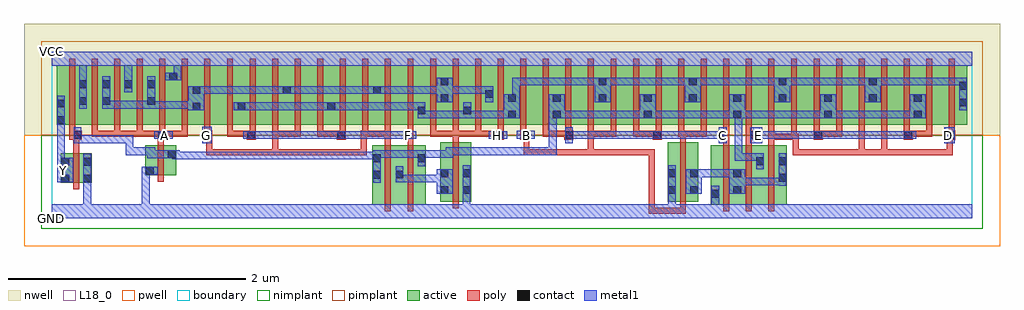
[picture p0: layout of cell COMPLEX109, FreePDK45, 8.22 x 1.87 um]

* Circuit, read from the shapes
.subckt COMPLEX109 A B C D E F G GND H VCC Y
M1 GND n1 Y VSUBS nfet w=0.25u l=0.05u
M2 n1 A GND VSUBS nfet w=0.25u l=0.05u
M3 n2 G n1 VSUBS nfet w=0.5u l=0.05u
M4 n1 F n2 VSUBS nfet w=0.5u l=0.05u
M5 GND H n2 VSUBS nfet w=0.5u l=0.05u
M6 n3 B GND VSUBS nfet w=0.5u l=0.05u
M7 n3 C GND VSUBS nfet w=0.5u l=0.05u
M8 n1 E n3 VSUBS nfet w=0.5u l=0.05u
M9 n3 D n1 VSUBS nfet w=0.5u l=0.05u
M10 VCC n1 Y n4 pfet w=0.5u l=0.05u
M11 n5 A VCC n4 pfet w=0.5u l=0.05u m=5
M12 n6 G n5 n4 pfet w=0.5u l=0.05u
M13 n7 F n6 n4 pfet w=0.5u l=0.05u
M14 n8 F n7 n4 pfet w=0.5u l=0.05u
M15 n5 G n8 n4 pfet w=0.5u l=0.05u
M16 n9 G n5 n4 pfet w=0.5u l=0.05u
M17 n7 F n9 n4 pfet w=0.5u l=0.05u
M18 n10 F n7 n4 pfet w=0.5u l=0.05u
M19 n5 G n10 n4 pfet w=0.5u l=0.05u
M20 n11 G n5 n4 pfet w=0.5u l=0.05u
M21 n7 F n11 n4 pfet w=0.5u l=0.05u
M22 n5 H n7 n4 pfet w=0.5u l=0.05u m=4
M23 n12 B n7 n4 pfet w=0.5u l=0.05u
M24 n1 C n12 n4 pfet w=0.5u l=0.05u
M25 n13 C n1 n4 pfet w=0.5u l=0.05u
M26 n7 B n13 n4 pfet w=0.5u l=0.05u
M27 n14 B n7 n4 pfet w=0.5u l=0.05u
M28 n1 C n14 n4 pfet w=0.5u l=0.05u
M29 n15 C n1 n4 pfet w=0.5u l=0.05u
M30 n7 B n15 n4 pfet w=0.5u l=0.05u
M31 n16 B n7 n4 pfet w=0.5u l=0.05u
M32 n1 C n16 n4 pfet w=0.5u l=0.05u
M33 n17 E n1 n4 pfet w=0.5u l=0.05u
M34 n7 D n17 n4 pfet w=0.5u l=0.05u
M35 n18 D n7 n4 pfet w=0.5u l=0.05u
M36 n1 E n18 n4 pfet w=0.5u l=0.05u
M37 n19 E n1 n4 pfet w=0.5u l=0.05u
M38 n7 D n19 n4 pfet w=0.5u l=0.05u
M39 n20 D n7 n4 pfet w=0.5u l=0.05u
M40 n1 E n20 n4 pfet w=0.5u l=0.05u
M41 n21 E n1 n4 pfet w=0.5u l=0.05u
M42 n7 D n21 n4 pfet w=0.5u l=0.05u
.ends

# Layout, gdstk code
import gdstk
lib = gdstk.Library(unit=1e-6, precision=1e-09)
def R(c, l, rs):  # rectangles x0, y0, x1, y1
    for r in rs: c.add(gdstk.rectangle(r[:2], r[2:], *l))
def A(c, l, x, y, w, h, nx, ny, dx, dy):  # array of equal rectangles
    R(c, l, [(x+i*dx, y+j*dy, x+i*dx+w, y+j*dy+h) for i in range(nx) for j in range(ny)])
active = (1, 0)
pwell = (2, 0)
nwell = (3, 0)
nimplant = (4, 0)
pimplant = (5, 0)
poly = (9, 0)
contact = (10, 0)
metal1 = (11, 0)
L18_0 = (18, 0)
boundary = (235, 0)

complex109 = lib.new_cell('COMPLEX109')
A(complex109, active, 0.04, 0.787, 0.26, 0.5, 3, 1, 0.38, 0)
A(complex109, active, 0.04, 0.787, 0.075, 0.413, 4, 1, 0.38, 0)
A(complex109, active, 0.225, 0.787, 0.075, 0.5, 3, 1, 0.38, 0)
A(complex109, active, 0.225, 0.787, 0.27, 0.5, 3, 1, 0.38, 0)
A(complex109, active, 1.18, 0.787, 0.225, 0.5, 3, 1, 0.38, 0)
A(complex109, active, 4.445, 0.787, 0.23, 0.5, 3, 1, 0.38, 0)
A(complex109, active, 4.6, 0.787, 0.225, 0.5, 3, 1, 0.38, 0)
A(complex109, active, 6.115, 0.787, 0.075, 0.413, 3, 1, 0.76, 0)
A(complex109, active, 6.725, 0.787, 0.225, 0.5, 3, 1, 0.38, 0)
R(complex109, active, [(2.7,0.112,2.965,0.612), (2.89,0.112,3.15,0.612), (5.55,0.112,5.81,0.612), (5.55,0.112,5.625,0.612), (5.735,0.112,6,0.612), (5.925,0.112,6.19,0.612), (3.27,0.137,3.53,0.637), (5.185,0.137,5.445,0.637), (2.7,0.145,2.775,0.612), (2.89,0.145,2.965,0.592), (3.075,0.145,3.15,0.612), (3.27,0.145,3.345,0.637), (3.455,0.145,3.53,0.637), (5.185,0.145,5.26,0.637), (5.37,0.145,5.445,0.637), (5.735,0.145,5.81,0.592), (5.925,0.145,6,0.592), (6.115,0.145,6.19,0.612), (0.075,0.297,0.15,0.547), (0.075,0.297,0.335,0.547), (0.26,0.297,0.335,0.547), (0.787,0.362,0.862,0.612), (0.787,0.362,1.047,0.612), (0.972,0.362,1.047,0.612), (1.405,0.787,1.635,1.287), (1.56,0.787,1.635,1.07), (1.785,0.787,2.015,1.287), (1.94,0.787,2.015,1.2), (2.165,0.787,2.39,1.287), (2.315,0.787,2.545,1.287), (2.315,0.787,2.39,1.07), (2.545,0.787,2.775,1.287), (2.7,0.787,2.775,1.2), (2.7,0.787,2.925,1.287), (2.925,0.787,3.15,1.287), (3.075,0.787,3.15,1.07), (3.075,0.787,3.345,1.287), (3.27,0.787,3.535,1.287), (3.27,0.787,3.345,1.2), (3.46,0.787,3.72,1.287), (3.46,0.787,3.535,1.07), (3.645,0.787,3.72,1.2), (3.645,0.787,3.912,1.287), (3.837,0.787,3.912,1.2), (3.837,0.787,4.065,1.287), (4.065,0.787,4.29,1.287), (4.215,0.787,4.445,1.287), (4.215,0.787,4.29,1.07), (4.6,0.787,4.675,1.2), (4.98,0.787,5.055,1.07), (5.36,0.787,5.435,1.2), (5.585,0.787,5.81,1.287), (5.735,0.787,5.965,1.287), (5.735,0.787,5.81,1.07), (5.965,0.787,6.19,1.287), (6.115,0.787,6.345,1.287), (6.345,0.787,6.575,1.287), (6.5,0.787,6.725,1.287), (6.5,0.787,6.575,1.07), (6.875,0.787,7.105,1.287), (7.255,0.787,7.485,1.287), (7.255,0.787,7.33,1.07)])
R(complex109, pwell, [(-0.235,-0.235,7.985,0.7)])
R(complex109, nwell, [(-0.235,0.7,7.985,1.635)])
R(complex109, nimplant, [(-0.09,-0.09,7.84,0.7)])
R(complex109, pimplant, [(-0.09,0.7,7.84,1.49)])
A(complex109, poly, 5.655, 0.057, 0.05, 0.61, 3, 1, 0.19, 0)
A(complex109, poly, 5.655, 0.617, 0.05, 0.095, 3, 1, 0.19, 0)
A(complex109, poly, 0.145, 0.687, 0.05, 0.095, 31, 1, 0.19, 0)
A(complex109, poly, 4.515, 0.687, 0.05, 0.05, 3, 1, 0.19, 0)
A(complex109, poly, 7.175, 0.687, 0.05, 0.095, 3, 1, 0.19, 0)
A(complex109, poly, 0.145, 0.732, 0.05, 0.61, 40, 1, 0.19, 0)
R(complex109, poly, [(5.027,0.037,5.077,0.087), (5.027,0.037,5.34,0.087), (5.027,0.037,5.077,0.58), (5.29,0.037,5.34,0.132), (5.29,0.037,5.34,0.087), (5.29,0.037,5.34,0.087), (5.29,0.037,5.34,0.087), (2.805,0.057,2.855,0.667), (2.995,0.057,3.045,0.667), (3.375,0.082,3.425,0.692), (5.29,0.082,5.34,0.692), (0.18,0.242,0.23,0.602), (0.892,0.307,0.942,0.667), (1.3,0.53,1.35,0.58), (1.3,0.53,1.35,0.58), (1.3,0.53,1.35,0.58), (1.3,0.53,1.35,0.58), (1.3,0.53,1.35,0.58), (1.3,0.53,1.35,0.712), (1.3,0.53,1.482,0.58), (1.432,0.53,1.482,0.58), (1.432,0.53,1.482,0.58), (1.432,0.53,1.482,0.58), (1.432,0.53,1.657,0.58), (1.607,0.53,1.657,0.58), (1.607,0.53,1.905,0.58), (1.855,0.53,1.905,0.58), (1.855,0.53,1.905,0.58), (1.855,0.53,1.905,0.58), (1.855,0.53,2.037,0.58), (1.855,0.53,1.905,0.737), (1.987,0.53,2.037,0.58), (1.987,0.53,2.037,0.58), (1.987,0.53,2.037,0.58), (1.987,0.53,2.227,0.58), (2.177,0.53,2.227,0.58), (2.177,0.53,2.227,0.58), (2.177,0.53,2.227,0.58), (2.177,0.53,2.417,0.58), (2.367,0.53,2.417,0.58), (2.367,0.53,2.417,0.58), (2.367,0.53,2.417,0.58), (2.367,0.53,2.65,0.58), (2.6,0.53,2.65,0.58), (2.6,0.53,2.65,0.58), (2.6,0.53,2.65,0.58), (2.6,0.53,2.65,0.737), (3.972,0.53,4.022,0.58), (3.972,0.53,4.022,0.58), (3.972,0.53,4.022,0.58), (3.972,0.53,4.022,0.58), (3.972,0.53,4.022,0.58), (3.972,0.53,4.022,0.712), (3.972,0.53,4.235,0.58), (4.185,0.53,4.235,0.58), (4.185,0.53,4.235,0.58), (4.185,0.53,4.235,0.58), (4.185,0.53,4.432,0.58), (4.382,0.53,4.432,0.58), (4.382,0.53,4.432,0.58), (4.382,0.53,4.432,0.58), (4.382,0.53,4.565,0.58), (4.515,0.53,4.565,0.58), (4.515,0.53,4.565,0.58), (4.515,0.53,4.565,0.58), (4.515,0.53,4.565,0.58), (4.515,0.53,4.565,0.58), (4.515,0.53,4.565,0.58), (4.515,0.53,4.565,0.58), (4.515,0.53,4.762,0.58), (4.515,0.53,4.565,0.737), (4.712,0.53,4.762,0.58), (4.712,0.53,4.762,0.58), (4.712,0.53,4.762,0.58), (4.712,0.53,4.895,0.58), (4.845,0.53,4.895,0.58), (4.845,0.53,5.077,0.58), (5.027,0.53,5.077,0.58), (5.027,0.53,5.077,0.58), (5.027,0.53,5.077,0.58), (5.027,0.53,5.077,0.58), (5.027,0.53,5.077,0.58), (6.24,0.53,6.29,0.712), (6.24,0.53,6.492,0.58), (6.442,0.53,6.492,0.58), (6.442,0.53,6.625,0.58), (6.575,0.53,6.625,0.58), (6.575,0.53,6.625,0.58), (6.575,0.53,6.625,0.58), (6.575,0.53,6.845,0.58), (6.795,0.53,6.845,0.58), (6.795,0.53,6.845,0.58), (6.795,0.53,6.845,0.58), (6.795,0.53,6.845,0.58), (6.795,0.53,6.845,0.58), (6.795,0.53,6.845,0.58), (6.795,0.53,6.845,0.58), (6.795,0.53,6.845,0.782), (6.795,0.53,7.035,0.58), (6.985,0.53,7.035,0.58), (6.985,0.53,7.035,0.58), (6.985,0.53,7.035,0.58), (6.985,0.53,7.035,0.58), (6.985,0.53,7.035,0.58), (6.985,0.53,7.035,0.58), (6.985,0.53,7.035,0.58), (6.985,0.53,7.167,0.58), (6.985,0.53,7.035,0.782), (7.117,0.53,7.167,0.58), (7.117,0.53,7.167,0.58), (7.117,0.53,7.167,0.58), (7.117,0.53,7.3,0.58), (7.25,0.53,7.3,0.58), (7.25,0.53,7.452,0.58), (7.402,0.53,7.452,0.58), (7.402,0.53,7.452,0.58), (7.402,0.53,7.452,0.58), (7.402,0.53,7.585,0.58), (7.535,0.53,7.585,0.58), (7.535,0.53,7.585,0.712), (0.18,0.552,0.23,0.712), (0.892,0.617,0.942,0.712), (2.805,0.617,2.855,0.737), (2.995,0.617,3.045,0.712), (3.375,0.642,3.425,0.737), (5.29,0.642,5.34,0.737), (0.145,0.662,0.252,0.737), (0.892,0.662,0.967,0.737), (1.275,0.662,1.35,0.737), (1.64,0.662,1.715,0.737), (2.4,0.662,2.475,0.737), (2.962,0.662,3.045,0.737), (3.73,0.662,3.805,0.737), (3.945,0.662,4.022,0.737), (4.317,0.662,4.392,0.737), (5.06,0.662,5.135,0.737), (5.612,0.662,5.705,0.737), (5.845,0.662,5.952,0.737), (6.035,0.662,6.085,0.712), (6.035,0.662,6.085,0.712), (6.035,0.662,6.085,0.712), (6.035,0.662,6.275,0.712), (6.035,0.662,6.085,0.782), (6.225,0.662,6.275,0.712), (6.225,0.662,6.275,0.712), (6.225,0.662,6.275,0.712), (6.225,0.662,6.275,0.712), (6.225,0.662,6.275,0.712), (6.225,0.662,6.29,0.712), (6.225,0.662,6.275,0.782), (6.415,0.662,6.492,0.737), (7.175,0.662,7.25,0.737), (7.535,0.662,7.585,0.712), (7.535,0.662,7.585,0.712), (7.535,0.662,7.61,0.737), (0.335,0.687,0.385,0.737), (0.335,0.687,0.385,0.737), (0.335,0.687,0.385,0.737), (0.335,0.687,0.575,0.737), (0.525,0.687,0.575,0.737), (0.525,0.687,0.575,0.737), (0.525,0.687,0.575,0.737), (0.525,0.687,0.765,0.737), (0.715,0.687,0.765,0.737), (0.715,0.687,0.765,0.737), (0.715,0.687,0.765,0.737), (0.715,0.687,0.942,0.737), (0.917,0.687,0.967,0.737), (0.917,0.687,0.967,0.737), (0.917,0.687,1.145,0.737), (1.095,0.687,1.145,0.737), (1.475,0.687,1.525,0.737), (1.475,0.687,1.69,0.737), (1.64,0.687,1.69,0.737), (1.64,0.687,1.69,0.737), (1.855,0.687,1.905,0.737), (1.855,0.687,1.905,0.737), (1.855,0.687,1.905,0.737), (1.855,0.687,2.095,0.737), (2.045,0.687,2.095,0.737), (2.045,0.687,2.095,0.737), (2.045,0.687,2.095,0.737), (2.235,0.687,2.285,0.737), (2.235,0.687,2.36,0.737), (2.31,0.687,2.36,0.737), (2.31,0.687,2.45,0.737), (2.6,0.687,2.65,0.737), (2.6,0.687,2.65,0.737), (2.6,0.687,2.665,0.737), (2.615,0.687,2.855,0.737), (2.805,0.687,2.855,0.737), (2.805,0.687,2.855,0.737), (2.805,0.687,2.855,0.737), (3.185,0.687,3.235,0.737), (3.185,0.687,3.235,0.737), (3.185,0.687,3.235,0.737), (3.185,0.687,3.425,0.737), (3.375,0.687,3.425,0.737), (3.375,0.687,3.425,0.737), (3.375,0.687,3.425,0.737), (3.375,0.687,3.615,0.737), (3.565,0.687,3.615,0.737), (3.565,0.687,3.78,0.737), (3.73,0.687,3.78,0.737), (3.73,0.687,3.78,0.737), (4.135,0.687,4.185,0.737), (4.135,0.687,4.185,0.737), (4.135,0.687,4.185,0.737), (4.135,0.687,4.367,0.737), (4.515,0.687,4.565,0.737), (4.515,0.687,4.565,0.737), (4.515,0.687,4.755,0.737), (4.895,0.687,5.11,0.737), (5.06,0.687,5.11,0.737), (5.06,0.687,5.11,0.737), (5.275,0.687,5.34,0.737), (5.29,0.687,5.515,0.737), (5.465,0.687,5.515,0.737), (5.465,0.687,5.515,0.737), (5.465,0.687,5.515,0.737), (6.415,0.687,6.465,0.782), (6.442,0.687,6.492,0.737), (6.442,0.687,6.492,0.737), (6.442,0.687,6.655,0.737), (6.605,0.687,6.655,0.782), (6.605,0.687,6.655,0.737), (7.2,0.687,7.3,0.737), (7.25,0.687,7.3,0.737), (7.25,0.687,7.415,0.737), (7.365,0.687,7.415,0.737)])
A(complex109, contact, 1.185, 1.047, 0.065, 0.065, 3, 1, 0.76, 0)
R(complex109, contact, [(5.555,0.172,5.62,0.237), (3.275,0.205,3.34,0.27), (3.46,0.205,3.525,0.27), (5.19,0.205,5.255,0.27), (5.375,0.205,5.44,0.27), (5.74,0.205,5.805,0.27), (0.08,0.302,0.145,0.367), (0.265,0.302,0.33,0.367), (6.12,0.307,6.185,0.372), (2.705,0.332,2.77,0.397), (2.895,0.335,2.96,0.4), (3.275,0.345,3.34,0.41), (3.46,0.345,3.525,0.41), (5.19,0.345,5.255,0.41), (5.375,0.345,5.44,0.41), (5.74,0.345,5.805,0.41), (0.792,0.367,0.857,0.432), (0.08,0.442,0.145,0.507), (0.265,0.442,0.33,0.507), (5.93,0.447,5.995,0.512), (6.12,0.447,6.185,0.512), (2.705,0.472,2.77,0.537), (3.08,0.472,3.145,0.537), (0.977,0.505,1.042,0.57), (0.182,0.667,0.247,0.732), (0.897,0.667,0.962,0.732), (1.28,0.667,1.345,0.732), (1.645,0.667,1.71,0.732), (2.405,0.667,2.47,0.732), (2.967,0.667,3.032,0.732), (3.735,0.667,3.8,0.732), (3.952,0.667,4.017,0.732), (4.322,0.667,4.387,0.732), (5.065,0.667,5.13,0.732), (5.617,0.667,5.682,0.732), (5.882,0.667,5.947,0.732), (6.422,0.667,6.487,0.732), (7.18,0.667,7.245,0.732), (7.54,0.667,7.605,0.732), (0.045,0.792,0.11,0.857), (3.842,0.84,3.907,0.905), (4.22,0.84,4.285,0.905), (4.985,0.84,5.05,0.905), (5.74,0.84,5.805,0.905), (6.505,0.84,6.57,0.905), (7.26,0.84,7.325,0.905), (3.08,0.875,3.145,0.94), (3.465,0.875,3.53,0.94), (1.185,0.907,1.25,0.972), (1.565,0.91,1.63,0.975), (2.32,0.91,2.385,0.975), (0.045,0.932,0.11,0.997), (7.64,0.942,7.705,1.007), (0.23,0.955,0.295,1.02), (0.425,0.955,0.49,1.02), (0.805,0.955,0.87,1.02), (3.275,0.977,3.34,1.042), (4.605,0.977,4.67,1.042), (5.365,0.977,5.43,1.042), (6.12,0.977,6.185,1.042), (6.88,0.977,6.945,1.042), (3.842,0.98,3.907,1.045), (4.22,0.98,4.285,1.045), (4.985,0.98,5.05,1.045), (5.74,0.98,5.805,1.045), (6.505,0.98,6.57,1.045), (7.26,0.98,7.325,1.045), (3.65,1.012,3.715,1.077), (7.64,1.082,7.705,1.147), (0.23,1.095,0.295,1.16), (0.425,1.095,0.49,1.16), (0.61,1.095,0.675,1.16), (0.805,1.095,0.87,1.16), (3.275,1.117,3.34,1.182), (4.605,1.117,4.67,1.182), (5.365,1.117,5.43,1.182), (6.12,1.117,6.185,1.182), (6.88,1.117,6.945,1.182), (0.99,1.16,1.055,1.225)])
R(complex109, metal1, [(0,0,7.75,0.115), (0.265,0.05,0.33,0.115), (0.265,0.05,0.33,0.115), (0.265,0.05,0.33,0.115), (0.265,0.05,0.33,0.115), (0.265,0.05,0.33,0.115), (0.265,0.05,0.33,0.115), (0.265,0.05,0.33,0.332), (0.757,0.05,0.822,0.115), (0.757,0.05,0.822,0.115), (0.757,0.05,0.822,0.432), (3.46,0.05,3.525,0.115), (3.46,0.05,3.525,0.115), (3.46,0.05,3.525,0.235), (5.19,0.05,5.255,0.115), (5.19,0.05,5.255,0.115), (5.19,0.05,5.255,0.235), (5.555,0.05,5.62,0.115), (5.555,0.05,5.62,0.115), (5.555,0.05,5.62,0.202), (5.555,0.137,5.62,0.272), (3.46,0.17,3.525,0.445), (5.19,0.17,5.255,0.445), (3.24,0.205,3.375,0.41), (5.34,0.205,5.475,0.41), (5.705,0.205,5.84,0.41), (0.265,0.267,0.33,0.542), (6.12,0.272,6.185,0.547), (5.775,0.275,5.995,0.34), (5.93,0.275,5.995,0.34), (5.93,0.275,5.995,0.34), (5.93,0.275,5.995,0.34), (5.93,0.275,6.132,0.34), (6.067,0.275,6.132,0.34), (6.067,0.275,6.185,0.34), (2.705,0.297,2.77,0.572), (2.895,0.3,2.96,0.365), (2.895,0.3,2.96,0.365), (2.895,0.3,2.96,0.435), (2.895,0.3,3.167,0.365), (3.102,0.3,3.167,0.365), (3.102,0.3,3.167,0.365), (3.102,0.3,3.167,0.365), (3.102,0.3,3.305,0.365), (0.045,0.302,0.18,0.507), (5.41,0.345,5.475,0.41), (5.41,0.345,5.475,0.41), (5.41,0.345,5.612,0.41), (5.547,0.345,5.612,0.41), (5.547,0.345,5.77,0.41), (5.705,0.345,5.77,0.41), (5.705,0.345,5.77,0.41), (0.757,0.367,0.822,0.432), (0.757,0.367,0.822,0.432), (0.757,0.367,0.822,0.432), (0.757,0.367,0.822,0.432), (0.757,0.367,0.892,0.432), (5.93,0.412,5.995,0.547), (3.08,0.437,3.145,0.572), (0.045,0.442,0.11,0.597), (5.75,0.482,5.815,0.547), (5.75,0.482,5.815,0.547), (5.75,0.482,5.815,0.547), (5.75,0.482,5.995,0.547), (5.75,0.482,5.815,0.905), (5.93,0.482,5.995,0.547), (5.93,0.482,5.995,0.547), (1.012,0.495,1.215,0.56), (1.012,0.495,1.077,0.57), (1.15,0.495,1.215,0.56), (1.15,0.495,1.215,0.56), (1.15,0.495,1.215,0.56), (1.15,0.495,1.422,0.56), (1.357,0.495,1.422,0.56), (1.357,0.495,1.422,0.56), (1.357,0.495,1.422,0.56), (1.357,0.495,1.56,0.56), (1.495,0.495,1.56,0.56), (1.495,0.495,1.56,0.56), (1.495,0.495,1.56,0.56), (1.495,0.495,1.81,0.56), (1.745,0.495,1.81,0.56), (1.745,0.495,1.902,0.56), (1.837,0.495,1.902,0.56), (1.837,0.495,2.075,0.56), (2.01,0.495,2.075,0.56), (2.01,0.495,2.075,0.56), (2.01,0.495,2.075,0.56), (2.01,0.495,2.212,0.56), (2.147,0.495,2.212,0.56), (2.147,0.495,2.212,0.56), (2.147,0.495,2.212,0.56), (2.147,0.495,2.35,0.56), (2.285,0.495,2.35,0.56), (2.285,0.495,2.35,0.56), (2.285,0.495,2.35,0.56), (2.285,0.495,2.572,0.56), (2.507,0.495,2.572,0.56), (2.507,0.495,2.667,0.56), (2.602,0.495,2.667,0.56), (2.602,0.495,2.77,0.56), (0.805,0.505,1.007,0.57), (0.805,0.505,0.87,0.595), (0.942,0.505,1.077,0.57), (1.012,0.505,1.077,0.57), (2.705,0.507,2.822,0.572), (2.757,0.507,2.822,0.572), (2.757,0.507,2.96,0.572), (2.895,0.507,2.96,0.572), (2.895,0.507,2.96,0.572), (2.895,0.507,2.96,0.572), (2.895,0.507,3.145,0.572), (3.08,0.507,3.145,0.572), (3.08,0.507,3.145,0.572), (3.08,0.507,3.382,0.572), (3.317,0.507,3.382,0.595), (0.62,0.53,0.87,0.595), (0.62,0.53,0.685,0.697), (0.805,0.53,0.87,0.595), (0.805,0.53,0.87,0.595), (3.317,0.53,3.382,0.595), (3.317,0.53,3.382,0.595), (3.317,0.53,3.52,0.595), (3.455,0.53,3.52,0.595), (3.455,0.53,3.52,0.595), (3.455,0.53,3.52,0.595), (3.455,0.53,3.735,0.595), (3.67,0.53,3.735,0.595), (3.67,0.53,3.735,0.595), (3.67,0.53,3.735,0.595), (3.67,0.53,3.882,0.595), (3.817,0.53,3.882,0.595), (3.817,0.53,3.935,0.595), (3.87,0.53,3.935,0.595), (3.87,0.53,4.08,0.595), (4.015,0.53,4.08,0.595), (4.015,0.53,4.08,0.595), (4.015,0.53,4.08,0.595), (4.015,0.53,4.25,0.595), (4.185,0.53,4.25,0.595), (4.185,0.53,4.25,0.905), (0.045,0.532,0.11,0.597), (0.045,0.532,0.11,0.597), (0.045,0.532,0.11,0.822), (0.182,0.632,0.247,0.767), (0.182,0.632,0.352,0.697), (0.287,0.632,0.352,0.697), (0.287,0.632,0.352,0.697), (0.287,0.632,0.352,0.697), (0.287,0.632,0.385,0.697), (0.32,0.632,0.385,0.697), (0.32,0.632,0.537,0.697), (0.472,0.632,0.537,0.697), (0.472,0.632,0.537,0.697), (0.472,0.632,0.537,0.697), (0.472,0.632,0.685,0.697), (0.62,0.632,0.685,0.697), (0.62,0.632,0.685,0.697), (1.267,0.632,1.345,0.77), (4.322,0.632,4.387,0.767), (5.617,0.632,5.682,0.767), (5.882,0.632,5.982,0.767), (7.517,0.632,7.605,0.767), (0.862,0.667,1.017,0.732), (1.61,0.667,1.745,0.732), (1.68,0.667,1.837,0.732), (1.772,0.667,1.837,0.732), (1.772,0.667,1.882,0.732), (1.817,0.667,1.882,0.732), (1.817,0.667,2.04,0.732), (1.975,0.667,2.04,0.732), (1.975,0.667,2.04,0.732), (1.975,0.667,2.04,0.732), (1.975,0.667,2.212,0.732), (2.147,0.667,2.212,0.732), (2.147,0.667,2.212,0.732), (2.147,0.667,2.212,0.732), (2.147,0.667,2.435,0.732), (2.37,0.667,2.435,0.732), (2.37,0.667,2.435,0.732), (2.37,0.667,2.505,0.732), (2.44,0.667,2.597,0.732), (2.532,0.667,2.597,0.732), (2.532,0.667,2.642,0.732), (2.577,0.667,2.642,0.732), (2.577,0.667,2.822,0.732), (2.757,0.667,2.822,0.732), (2.757,0.667,2.822,0.732), (2.757,0.667,2.822,0.732), (2.757,0.667,2.96,0.732), (2.895,0.667,2.96,0.732), (2.895,0.667,2.997,0.732), (2.932,0.667,3.067,0.732), (3.68,0.667,3.835,0.732), (3.917,0.667,4.067,0.735), (4.322,0.667,4.497,0.732), (4.432,0.667,4.497,0.732), (4.432,0.667,4.525,0.732), (4.46,0.667,4.525,0.732), (4.46,0.667,4.705,0.732), (4.64,0.667,4.705,0.732), (4.64,0.667,4.705,0.732), (4.64,0.667,4.705,0.732), (4.64,0.667,4.877,0.732), (4.812,0.667,4.877,0.732), (4.812,0.667,4.877,0.732), (4.812,0.667,4.877,0.732), (4.812,0.667,5.095,0.732), (5.03,0.667,5.095,0.732), (5.03,0.667,5.095,0.732), (5.03,0.667,5.165,0.732), (5.1,0.667,5.257,0.732), (5.192,0.667,5.257,0.732), (5.192,0.667,5.327,0.732), (5.262,0.667,5.327,0.732), (5.262,0.667,5.465,0.732), (5.4,0.667,5.465,0.732), (5.4,0.667,5.465,0.732), (5.4,0.667,5.465,0.732), (5.4,0.667,5.612,0.732), (5.547,0.667,5.612,0.732), (5.547,0.667,5.682,0.732), (5.917,0.667,5.982,0.732), (5.917,0.667,5.982,0.732), (5.917,0.667,6.132,0.732), (6.067,0.667,6.132,0.732), (6.067,0.667,6.132,0.732), (6.067,0.667,6.132,0.732), (6.067,0.667,6.315,0.732), (6.25,0.667,6.315,0.732), (6.25,0.667,6.357,0.732), (6.292,0.667,6.357,0.732), (6.292,0.667,6.452,0.732), (6.387,0.667,6.522,0.732), (6.457,0.667,6.522,0.732), (6.457,0.667,6.522,0.732), (6.457,0.667,6.672,0.732), (6.607,0.667,6.672,0.732), (6.607,0.667,6.742,0.732), (6.677,0.667,6.742,0.732), (6.677,0.667,6.81,0.732), (6.745,0.667,6.81,0.732), (6.745,0.667,6.98,0.732), (6.915,0.667,6.98,0.732), (6.915,0.667,6.98,0.732), (6.915,0.667,6.98,0.732), (6.915,0.667,7.117,0.732), (7.052,0.667,7.117,0.732), (7.052,0.667,7.21,0.732), (7.145,0.667,7.28,0.732), (0.045,0.757,0.11,0.822), (0.045,0.757,0.11,1.032), (3.08,0.84,3.145,0.905), (3.08,0.84,3.145,0.905), (3.08,0.84,3.145,0.975), (3.08,0.84,3.307,0.905), (3.242,0.84,3.307,0.905), (3.242,0.84,3.307,0.905), (3.242,0.84,3.307,0.905), (3.242,0.84,3.53,0.905), (3.465,0.84,3.53,0.905), (3.465,0.84,3.53,0.905), (3.465,0.84,3.667,0.905), (3.465,0.84,3.53,0.975), (3.602,0.84,3.667,0.905), (3.602,0.84,3.667,0.905), (3.602,0.84,3.667,0.905), (3.602,0.84,3.872,0.905), (3.807,0.84,3.942,1.045), (4.185,0.84,4.25,0.905), (4.185,0.84,4.25,0.905), (4.185,0.84,4.32,1.045), (4.255,0.84,4.32,0.905), (4.255,0.84,4.32,0.905), (4.255,0.84,4.497,0.905), (4.432,0.84,4.497,0.905), (4.432,0.84,4.525,0.905), (4.46,0.84,4.525,0.905), (4.46,0.84,4.705,0.905), (4.64,0.84,4.705,0.905), (4.64,0.84,4.705,0.905), (4.64,0.84,4.705,0.905), (4.64,0.84,4.842,0.905), (4.777,0.84,4.842,0.905), (4.777,0.84,4.842,0.905), (4.777,0.84,4.842,0.905), (4.777,0.84,5.015,0.905), (4.95,0.84,5.085,1.045), (5.02,0.84,5.085,0.905), (5.02,0.84,5.085,0.905), (5.02,0.84,5.257,0.905), (5.192,0.84,5.257,0.905), (5.192,0.84,5.327,0.905), (5.262,0.84,5.327,0.905), (5.262,0.84,5.465,0.905), (5.4,0.84,5.465,0.905), (5.4,0.84,5.465,0.905), (5.4,0.84,5.465,0.905), (5.4,0.84,5.612,0.905), (5.547,0.84,5.612,0.905), (5.547,0.84,5.612,0.905), (5.547,0.84,5.612,0.905), (5.547,0.84,5.77,0.905), (5.705,0.84,5.84,1.045), (5.775,0.84,5.995,0.905), (5.93,0.84,5.995,0.905), (5.93,0.84,5.995,0.905), (5.93,0.84,5.995,0.905), (5.93,0.84,6.132,0.905), (6.067,0.84,6.132,0.905), (6.067,0.84,6.132,0.905), (6.067,0.84,6.132,0.905), (6.067,0.84,6.315,0.905), (6.25,0.84,6.315,0.905), (6.25,0.84,6.357,0.905), (6.292,0.84,6.357,0.905), (6.292,0.84,6.535,0.905), (6.47,0.84,6.535,0.905), (6.47,0.84,6.535,0.905), (6.47,0.84,6.605,1.045), (6.54,0.84,6.672,0.905), (6.607,0.84,6.672,0.905), (6.607,0.84,6.772,0.905), (6.707,0.84,6.772,0.905), (6.707,0.84,6.81,0.905), (6.745,0.84,6.81,0.905), (6.745,0.84,6.98,0.905), (6.915,0.84,6.98,0.905), (6.915,0.84,6.98,0.905), (6.915,0.84,6.98,0.905), (6.915,0.84,7.117,0.905), (7.052,0.84,7.117,0.905), (7.052,0.84,7.29,0.905), (7.225,0.84,7.29,0.905), (7.225,0.84,7.29,0.905), (7.225,0.84,7.36,1.045), (1.15,0.907,1.285,1.112), (7.64,0.907,7.705,1.182), (1.53,0.91,1.665,0.975), (1.6,0.91,1.665,0.975), (1.6,0.91,1.665,0.975), (1.6,0.91,1.802,0.975), (1.737,0.91,1.802,0.975), (1.737,0.91,1.902,0.975), (1.837,0.91,1.902,0.975), (1.837,0.91,2.075,0.975), (2.01,0.91,2.075,0.975), (2.01,0.91,2.075,0.975), (2.01,0.91,2.075,0.975), (2.01,0.91,2.212,0.975), (2.147,0.91,2.212,0.975), (2.147,0.91,2.212,0.975), (2.147,0.91,2.212,0.975), (2.147,0.91,2.35,0.975), (2.285,0.91,2.42,0.975), (2.355,0.91,2.42,0.975), (2.355,0.91,2.42,0.975), (2.355,0.91,2.572,0.975), (2.507,0.91,2.572,0.975), (2.507,0.91,2.667,0.975), (2.602,0.91,2.667,0.975), (2.602,0.91,2.805,0.975), (2.74,0.91,2.805,0.975), (2.74,0.91,2.805,0.975), (2.74,0.91,2.805,0.975), (2.74,0.91,2.96,0.975), (2.895,0.91,2.96,0.975), (2.895,0.91,2.96,0.975), (2.895,0.91,2.96,0.975), (2.895,0.91,3.145,0.975), (0.23,0.92,0.295,1.195), (0.425,0.92,0.49,1.195), (0.805,0.92,0.87,0.985), (0.805,0.92,0.87,0.985), (0.805,0.92,0.87,1.195), (0.805,0.92,1.077,0.985), (1.012,0.92,1.077,0.985), (1.012,0.92,1.077,0.985), (1.012,0.92,1.077,0.985), (1.012,0.92,1.215,0.985), (0.425,0.922,0.547,0.987), (0.482,0.922,0.547,0.987), (0.482,0.922,0.685,0.987), (0.62,0.922,0.685,0.987), (0.62,0.922,0.685,0.987), (0.62,0.922,0.685,0.987), (0.62,0.922,0.87,0.987), (3.24,0.977,3.375,1.182), (3.65,0.977,3.715,1.112), (4.57,0.977,4.705,1.182), (5.33,0.977,5.465,1.182), (6.085,0.977,6.22,1.182), (6.845,0.977,6.98,1.182), (3.877,0.98,3.942,1.182), (1.22,1.047,1.285,1.112), (1.22,1.047,1.285,1.112), (1.22,1.047,1.422,1.112), (1.357,1.047,1.422,1.112), (1.357,1.047,1.422,1.112), (1.357,1.047,1.422,1.112), (1.357,1.047,1.422,1.112), (1.357,1.047,1.422,1.112), (1.357,1.047,1.56,1.112), (1.495,1.047,1.56,1.112), (1.495,1.047,1.56,1.112), (1.495,1.047,1.56,1.112), (1.495,1.047,1.802,1.112), (1.737,1.047,1.802,1.112), (1.737,1.047,1.902,1.112), (1.837,1.047,1.902,1.112), (1.837,1.047,1.975,1.112), (1.91,1.047,2.045,1.112), (1.98,1.047,2.045,1.112), (1.98,1.047,2.045,1.112), (1.98,1.047,2.212,1.112), (2.147,1.047,2.212,1.112), (2.147,1.047,2.212,1.112), (2.147,1.047,2.212,1.112), (2.147,1.047,2.35,1.112), (2.285,1.047,2.35,1.112), (2.285,1.047,2.35,1.112), (2.285,1.047,2.35,1.112), (2.285,1.047,2.572,1.112), (2.507,1.047,2.572,1.112), (2.507,1.047,2.642,1.112), (2.577,1.047,2.642,1.112), (2.577,1.047,2.735,1.112), (2.67,1.047,2.805,1.112), (2.74,1.047,2.805,1.112), (2.74,1.047,2.805,1.112), (2.74,1.047,2.96,1.112), (2.895,1.047,2.96,1.112), (2.895,1.047,2.96,1.112), (2.895,1.047,2.96,1.112), (2.895,1.047,3.097,1.112), (3.032,1.047,3.097,1.112), (3.032,1.047,3.097,1.112), (3.032,1.047,3.097,1.112), (3.032,1.047,3.305,1.112), (3.31,1.047,3.375,1.112), (3.31,1.047,3.375,1.112), (3.31,1.047,3.53,1.112), (3.465,1.047,3.53,1.112), (3.465,1.047,3.53,1.112), (3.465,1.047,3.53,1.112), (3.465,1.047,3.715,1.112), (0.61,1.06,0.675,1.195), (3.877,1.117,3.942,1.182), (3.877,1.117,3.942,1.182), (3.877,1.117,3.942,1.182), (3.877,1.117,3.942,1.182), (3.877,1.117,3.942,1.182), (3.877,1.117,4.08,1.182), (4.015,1.117,4.08,1.182), (4.015,1.117,4.08,1.182), (4.015,1.117,4.08,1.182), (4.015,1.117,4.217,1.182), (4.152,1.117,4.217,1.182), (4.152,1.117,4.217,1.182), (4.152,1.117,4.217,1.182), (4.152,1.117,4.457,1.182), (4.392,1.117,4.457,1.182), (4.392,1.117,4.525,1.182), (4.46,1.117,4.525,1.182), (4.46,1.117,4.635,1.182), (4.64,1.117,4.705,1.182), (4.64,1.117,4.705,1.182), (4.64,1.117,4.877,1.182), (4.812,1.117,4.877,1.182), (4.812,1.117,4.877,1.182), (4.812,1.117,4.877,1.182), (4.812,1.117,5.117,1.182), (5.052,1.117,5.117,1.182), (5.052,1.117,5.117,1.182), (5.052,1.117,5.117,1.182), (5.052,1.117,5.257,1.182), (5.192,1.117,5.257,1.182), (5.192,1.117,5.327,1.182), (5.262,1.117,5.327,1.182), (5.262,1.117,5.395,1.182), (5.4,1.117,5.465,1.182), (5.4,1.117,5.465,1.182), (5.4,1.117,5.612,1.182), (5.547,1.117,5.612,1.182), (5.547,1.117,5.75,1.182), (5.685,1.117,5.75,1.182), (5.685,1.117,5.75,1.182), (5.685,1.117,5.75,1.182), (5.685,1.117,5.98,1.182), (5.915,1.117,5.98,1.182), (5.915,1.117,5.98,1.182), (5.915,1.117,5.98,1.182), (5.915,1.117,6.15,1.182), (6.085,1.117,6.15,1.182), (6.085,1.117,6.15,1.182), (6.155,1.117,6.287,1.182), (6.222,1.117,6.287,1.182), (6.222,1.117,6.385,1.182), (6.32,1.117,6.385,1.182), (6.32,1.117,6.535,1.182), (6.47,1.117,6.535,1.182), (6.47,1.117,6.535,1.182), (6.47,1.117,6.535,1.182), (6.47,1.117,6.672,1.182), (6.607,1.117,6.672,1.182), (6.607,1.117,6.772,1.182), (6.707,1.117,6.772,1.182), (6.707,1.117,6.842,1.182), (6.777,1.117,6.842,1.182), (6.777,1.117,6.91,1.182), (6.915,1.117,6.98,1.182), (6.915,1.117,6.98,1.182), (6.915,1.117,7.117,1.182), (7.052,1.117,7.117,1.182), (7.052,1.117,7.307,1.182), (7.242,1.117,7.307,1.182), (7.242,1.117,7.307,1.182), (7.242,1.117,7.307,1.182), (7.242,1.117,7.445,1.182), (7.38,1.117,7.445,1.182), (7.38,1.117,7.445,1.182), (7.38,1.117,7.445,1.182), (7.38,1.117,7.705,1.182), (7.64,1.117,7.705,1.182), (7.64,1.117,7.705,1.182), (0.23,1.13,0.295,1.35), (0.61,1.13,0.675,1.35), (0.955,1.16,1.09,1.225), (1.025,1.16,1.09,1.35), (0,1.285,7.75,1.4)])
R(complex109, L18_0, [(0,0,7.75,0.115), (0.265,0.05,0.33,0.115), (0.265,0.05,0.33,0.115), (0.265,0.05,0.33,0.115), (0.265,0.05,0.33,0.115), (0.265,0.05,0.33,0.115), (0.265,0.05,0.33,0.115), (0.265,0.05,0.33,0.332), (0.757,0.05,0.822,0.115), (0.757,0.05,0.822,0.115), (0.757,0.05,0.822,0.432), (3.46,0.05,3.525,0.115), (3.46,0.05,3.525,0.115), (3.46,0.05,3.525,0.235), (5.19,0.05,5.255,0.115), (5.19,0.05,5.255,0.115), (5.19,0.05,5.255,0.235), (5.555,0.05,5.62,0.115), (5.555,0.05,5.62,0.115), (5.555,0.05,5.62,0.202), (5.555,0.137,5.62,0.272), (3.46,0.17,3.525,0.445), (5.19,0.17,5.255,0.445), (0.265,0.267,0.33,0.542), (0.045,0.302,0.18,0.507), (0.067,0.367,0.132,0.432), (0.757,0.367,0.822,0.432), (0.757,0.367,0.822,0.432), (0.757,0.367,0.822,0.432), (0.757,0.367,0.822,0.432), (0.757,0.367,0.892,0.432), (0.045,0.442,0.11,0.597), (0.045,0.532,0.11,0.597), (0.045,0.532,0.11,0.597), (0.045,0.532,0.11,0.822), (1.267,0.632,1.345,0.77), (4.322,0.632,4.387,0.767), (5.617,0.632,5.682,0.767), (5.882,0.632,5.982,0.767), (7.517,0.632,7.605,0.767), (0.862,0.667,1.017,0.732), (0.917,0.667,0.982,0.732), (1.267,0.667,1.332,0.732), (1.61,0.667,1.745,0.732), (1.68,0.667,1.837,0.732), (1.772,0.667,1.837,0.732), (1.772,0.667,1.882,0.732), (1.817,0.667,1.882,0.732), (1.817,0.667,2.04,0.732), (1.975,0.667,2.04,0.732), (1.975,0.667,2.04,0.732), (1.975,0.667,2.04,0.732), (1.975,0.667,2.212,0.732), (2.147,0.667,2.212,0.732), (2.147,0.667,2.212,0.732), (2.147,0.667,2.212,0.732), (2.147,0.667,2.435,0.732), (2.37,0.667,2.435,0.732), (2.37,0.667,2.435,0.732), (2.37,0.667,2.505,0.732), (2.44,0.667,2.597,0.732), (2.532,0.667,2.597,0.732), (2.532,0.667,2.642,0.732), (2.577,0.667,2.642,0.732), (2.577,0.667,2.822,0.732), (2.757,0.667,2.822,0.732), (2.757,0.667,2.822,0.732), (2.757,0.667,2.822,0.732), (2.757,0.667,2.96,0.732), (2.895,0.667,2.96,0.732), (2.895,0.667,2.997,0.732), (2.932,0.667,3.067,0.732), (2.967,0.667,3.032,0.732), (3.68,0.667,3.835,0.732), (3.717,0.667,3.782,0.732), (3.917,0.667,4.067,0.735), (3.967,0.667,4.032,0.732), (4.322,0.667,4.497,0.732), (4.432,0.667,4.497,0.732), (4.432,0.667,4.525,0.732), (4.46,0.667,4.525,0.732), (4.46,0.667,4.705,0.732), (4.64,0.667,4.705,0.732), (4.64,0.667,4.705,0.732), (4.64,0.667,4.705,0.732), (4.64,0.667,4.877,0.732), (4.812,0.667,4.877,0.732), (4.812,0.667,4.877,0.732), (4.812,0.667,4.877,0.732), (4.812,0.667,5.095,0.732), (5.03,0.667,5.095,0.732), (5.03,0.667,5.095,0.732), (5.03,0.667,5.165,0.732), (5.1,0.667,5.257,0.732), (5.192,0.667,5.257,0.732), (5.192,0.667,5.327,0.732), (5.262,0.667,5.327,0.732), (5.262,0.667,5.465,0.732), (5.4,0.667,5.465,0.732), (5.4,0.667,5.465,0.732), (5.4,0.667,5.465,0.732), (5.4,0.667,5.612,0.732), (5.547,0.667,5.612,0.732), (5.547,0.667,5.682,0.732), (5.617,0.667,5.682,0.732), (5.917,0.667,5.982,0.732), (5.917,0.667,5.982,0.732), (5.917,0.667,5.982,0.732), (5.917,0.667,6.132,0.732), (6.067,0.667,6.132,0.732), (6.067,0.667,6.132,0.732), (6.067,0.667,6.132,0.732), (6.067,0.667,6.315,0.732), (6.25,0.667,6.315,0.732), (6.25,0.667,6.357,0.732), (6.292,0.667,6.357,0.732), (6.292,0.667,6.452,0.732), (6.387,0.667,6.522,0.732), (6.457,0.667,6.522,0.732), (6.457,0.667,6.522,0.732), (6.457,0.667,6.672,0.732), (6.607,0.667,6.672,0.732), (6.607,0.667,6.742,0.732), (6.677,0.667,6.742,0.732), (6.677,0.667,6.81,0.732), (6.745,0.667,6.81,0.732), (6.745,0.667,6.98,0.732), (6.915,0.667,6.98,0.732), (6.915,0.667,6.98,0.732), (6.915,0.667,6.98,0.732), (6.915,0.667,7.117,0.732), (7.052,0.667,7.117,0.732), (7.052,0.667,7.21,0.732), (7.145,0.667,7.28,0.732), (7.517,0.667,7.582,0.732), (0.045,0.757,0.11,0.822), (0.045,0.757,0.11,1.032), (0.23,0.92,0.295,1.195), (0.61,1.06,0.675,1.195), (0.23,1.13,0.295,1.35), (0.61,1.13,0.675,1.35), (0.955,1.16,1.09,1.225), (1.025,1.16,1.09,1.35), (0,1.285,7.75,1.4)])
R(complex109, boundary, [(0,0,7.75,1.4)])
complex109.add(gdstk.Label('A', (0.95,0.7), layer=11, texttype=0))
complex109.add(gdstk.Label('B', (4,0.7), layer=11, texttype=0))
complex109.add(gdstk.Label('C', (5.65,0.7), layer=11, texttype=0))
complex109.add(gdstk.Label('D', (7.55,0.7), layer=11, texttype=0))
complex109.add(gdstk.Label('E', (5.95,0.7), layer=11, texttype=0))
complex109.add(gdstk.Label('F', (3,0.7), layer=11, texttype=0))
complex109.add(gdstk.Label('G', (1.3,0.7), layer=11, texttype=0))
complex109.add(gdstk.Label('H', (3.75,0.7), layer=11, texttype=0))
complex109.add(gdstk.Label('Y', (0.1,0.4), layer=11, texttype=0))
complex109.add(gdstk.Label('VCC', (0,1.4), layer=11, texttype=0))
complex109.add(gdstk.Label('GND', (0,0), layer=11, texttype=0))

lib.write_gds('COMPLEX109.gds')
